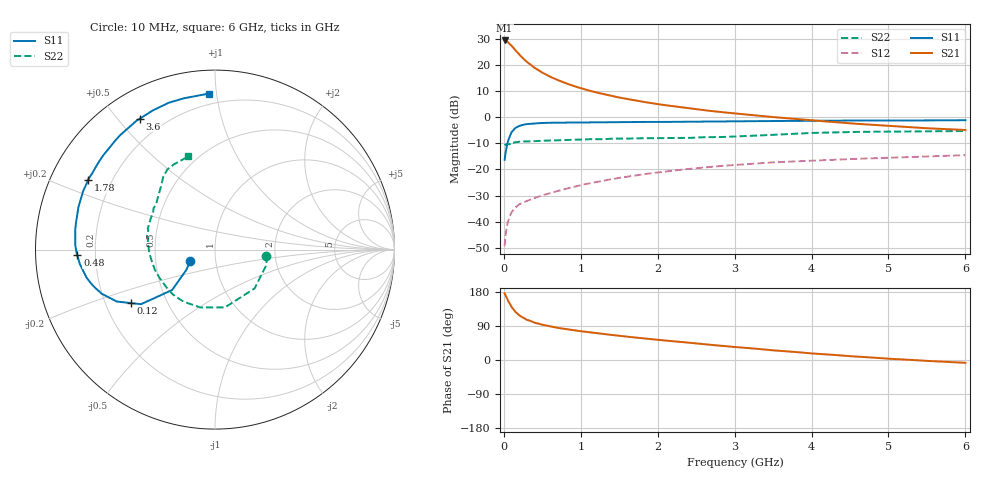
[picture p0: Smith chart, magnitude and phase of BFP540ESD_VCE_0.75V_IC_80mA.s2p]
! Infineon Technologies  Discrete & RF Semiconductors
! BFP540ESD
! VCE = 0.75 V,  IC =  80 mA
! Common Emitter S-Parameters:  Nov 2015
# GHz  S  MA  R  50
!  f  S11  S21  S12  S22
! GHz  MAG  ANG  MAG  ANG  MAG  ANG  MAG  ANG
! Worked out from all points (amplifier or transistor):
!   210 points, 10 MHz to 6 GHz, reference 50 ohm
!   highest |S21| = 29.3 dB at 10 MHz (marker M1)
!   |S21| within 3 dB of that: start of sweep to 128.4 MHz
!   unconditionally stable (mu >= 1): start of sweep to 110.8 MHz; 433 MHz to end of sweep
!   at 185 MHz: K = 0.87, MSG = 29.1 dB, |S12| = -33.7 dB
!   at 1.52 GHz: K = 1.29, MAG = 12.0 dB, |S12| = -23.2 dB
!   at 6 GHz: K = 1.32, MAG = 1.4 dB, |S12| = -14.6 dB
!   S11 on the Smith chart (normalised r, x): 10 MHz: 0.75, -0.10; 120 MHz: 0.31, -0.27; 480 MHz: 0.13, -0.02; 1.78 GHz: 0.11, +0.25; 3.6 GHz: 0.11, +0.57; 6 GHz: 0.13, +0.95
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0.01  0.1519 -155.7  29.13 175.8  0.0034 39.1  0.2881 -6.9
0.02  0.1956 -144.7  28.72 171.3  0.0051 50.6  0.2993 -16.2
0.05  0.3278 -136.7  27.33 158.0  0.0097 56.2  0.3092 -44.4
0.1  0.5127 -143.6  23.16 139.6  0.0151 52.8  0.327 -80.3
0.12  0.5535 -147.4  21.34 135.1  0.0165 50.5  0.3223 -89.9
0.15  0.6185 -152.1  18.92 126.9  0.0186 47.7  0.3325 -104.2
0.2  0.6772 -158.7  15.67 117.8  0.0214 46.1  0.3387 -121.0
0.26  0.7153 -164.6  12.8 110.3  0.0235 46.2  0.3425 -133.9
0.3  0.7329 -167.8  11.31 106.0  0.0249 45.8  0.3429 -140.8
0.4  0.7573 -173.9  8.723 98.5  0.0283 46.3  0.3466 -152.7
0.48  0.7677 -177.6  7.39 94.3  0.0311 47.9  0.3513 -159.4
0.6  0.7789 178.2  5.919 88.8  0.0351 50.2  0.3564 -167.1
0.7  0.7815 174.7  5.096 84.8  0.0386 51.4  0.3593 -171.9
1.02  0.7909 166.3  3.494 75.5  0.0506 53.0  0.372 177.3
1.4  0.8011 158.3  2.537 66.1  0.0647 52.4  0.3866 168.3
1.78  0.8065 151.3  1.989 58.0  0.079 50.4  0.3928 161.5
2.02  0.8064 146.7  1.746 52.9  0.0875 48.4  0.3944 157.0
3.1  0.8293 127.9  1.136 32.8  0.1239 37.6  0.4307 137.7
3.6  0.8414 119.8  0.971 24.1  0.1382 31.8  0.4644 130.4
4.1  0.8501 112.7  0.843 16.1  0.149 26.4  0.5011 124.5
5.1  0.8605 100.6  0.664 2.4  0.1683 16.7  0.5278 114.8
6  0.87 92.3  0.566 -7.4  0.1869 9.5  0.5404 105.9
